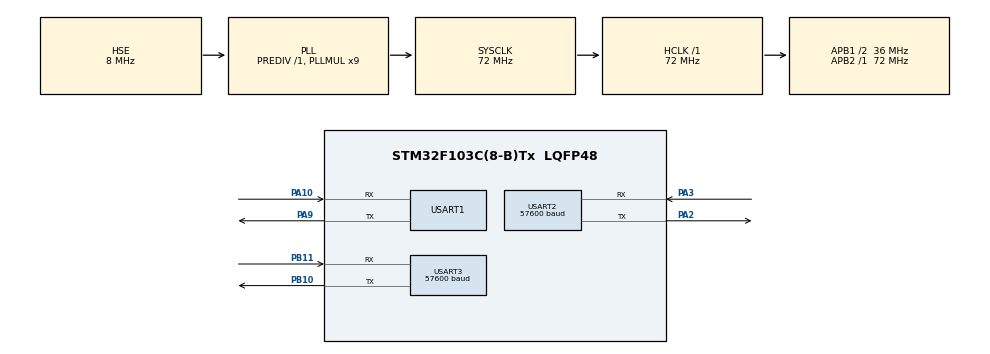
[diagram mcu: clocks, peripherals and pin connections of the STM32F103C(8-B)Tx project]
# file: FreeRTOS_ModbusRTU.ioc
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Dma.Request0=USART1_RX
Dma.Request1=USART1_TX
Dma.Request2=USART2_RX
Dma.Request3=USART2_TX
Dma.Request4=USART3_RX
Dma.Request5=USART3_TX
Dma.USART1_RX.0.Direction=DMA_PERIPH_TO_MEMORY
Dma.USART1_RX.0.Instance=DMA1_Channel5
Dma.USART1_RX.0.MemDataAlignment=DMA_MDATAALIGN_BYTE
Dma.USART1_RX.0.MemInc=DMA_MINC_ENABLE
Dma.USART1_RX.0.Mode=DMA_CIRCULAR
Dma.USART1_RX.0.PeriphDataAlignment=DMA_PDATAALIGN_BYTE
Dma.USART1_RX.0.PeriphInc=DMA_PINC_DISABLE
Dma.USART1_RX.0.Priority=DMA_PRIORITY_LOW
Dma.USART1_TX.1.Direction=DMA_MEMORY_TO_PERIPH
Dma.USART1_TX.1.Instance=DMA1_Channel4
Dma.USART1_TX.1.MemDataAlignment=DMA_MDATAALIGN_BYTE
Dma.USART1_TX.1.MemInc=DMA_MINC_ENABLE
Dma.USART1_TX.1.Mode=DMA_NORMAL
Dma.USART1_TX.1.PeriphDataAlignment=DMA_PDATAALIGN_BYTE
Dma.USART1_TX.1.PeriphInc=DMA_PINC_DISABLE
Dma.USART1_TX.1.Priority=DMA_PRIORITY_LOW
Dma.USART2_RX.2.Direction=DMA_PERIPH_TO_MEMORY
Dma.USART2_RX.2.Instance=DMA1_Channel6
Dma.USART2_RX.2.MemDataAlignment=DMA_MDATAALIGN_BYTE
Dma.USART2_RX.2.MemInc=DMA_MINC_ENABLE
Dma.USART2_RX.2.Mode=DMA_CIRCULAR
Dma.USART2_RX.2.PeriphDataAlignment=DMA_PDATAALIGN_BYTE
Dma.USART2_RX.2.PeriphInc=DMA_PINC_DISABLE
Dma.USART2_RX.2.Priority=DMA_PRIORITY_MEDIUM
Dma.USART2_TX.3.Direction=DMA_MEMORY_TO_PERIPH
Dma.USART2_TX.3.Instance=DMA1_Channel7
Dma.USART2_TX.3.MemDataAlignment=DMA_MDATAALIGN_BYTE
Dma.USART2_TX.3.MemInc=DMA_MINC_ENABLE
Dma.USART2_TX.3.Mode=DMA_NORMAL
Dma.USART2_TX.3.PeriphDataAlignment=DMA_PDATAALIGN_BYTE
Dma.USART2_TX.3.PeriphInc=DMA_PINC_DISABLE
Dma.USART2_TX.3.Priority=DMA_PRIORITY_MEDIUM
Dma.USART3_RX.4.Direction=DMA_PERIPH_TO_MEMORY
Dma.USART3_RX.4.Instance=DMA1_Channel3
Dma.USART3_RX.4.MemDataAlignment=DMA_MDATAALIGN_BYTE
Dma.USART3_RX.4.MemInc=DMA_MINC_ENABLE
Dma.USART3_RX.4.Mode=DMA_CIRCULAR
Dma.USART3_RX.4.PeriphDataAlignment=DMA_PDATAALIGN_BYTE
Dma.USART3_RX.4.PeriphInc=DMA_PINC_DISABLE
Dma.USART3_RX.4.Priority=DMA_PRIORITY_HIGH
Dma.USART3_TX.5.Direction=DMA_MEMORY_TO_PERIPH
Dma.USART3_TX.5.Instance=DMA1_Channel2
Dma.USART3_TX.5.MemDataAlignment=DMA_MDATAALIGN_BYTE
Dma.USART3_TX.5.MemInc=DMA_MINC_ENABLE
Dma.USART3_TX.5.Mode=DMA_NORMAL
Dma.USART3_TX.5.PeriphDataAlignment=DMA_PDATAALIGN_BYTE
Dma.USART3_TX.5.PeriphInc=DMA_PINC_DISABLE
Dma.USART3_TX.5.Priority=DMA_PRIORITY_HIGH
FREERTOS.BinarySemaphores01=frameSendSemaphore,Dynamic,NULL,Available
FREERTOS.Tasks01=RecvData_Task,24,128,Start_RecvData,Default,NULL,Dynamic,NULL,NULL;ProcData_Task,32,128,Start_Process_Data,Default,NULL,Dynamic,NULL,NULL;MoniMotor_Task,8,128,Start_MonitorMotor_Data,Default,NULL,Dynamic,NULL,NULL;Ctrl_Load_Task,48,128,Start_Control_Load,Default,NULL,Dynamic,NULL,NULL;Main_Ctrl_Task,24,128,Start_Main_Control,Default,NULL,Dynamic,NULL,NULL
FREERTOS.configTOTAL_HEAP_SIZE=8192
Mcu.Family=STM32F1
Mcu.Name=STM32F103C(8-B)Tx
Mcu.Package=LQFP48
NVIC.DMA1_Channel2_IRQn=true\:5\:0\:false\:false\:true\:true\:false\:true\:true
NVIC.DMA1_Channel3_IRQn=true\:5\:0\:false\:false\:true\:true\:false\:true\:true
NVIC.DMA1_Channel4_IRQn=true\:5\:0\:false\:false\:true\:true\:false\:true\:true
NVIC.DMA1_Channel5_IRQn=true\:5\:0\:false\:false\:true\:true\:false\:true\:true
NVIC.DMA1_Channel6_IRQn=true\:5\:0\:false\:false\:true\:true\:false\:true\:true
NVIC.DMA1_Channel7_IRQn=true\:5\:0\:false\:false\:true\:true\:false\:true\:true
NVIC.PriorityGroup=NVIC_PRIORITYGROUP_4
NVIC.TIM1_UP_IRQn=true\:15\:0\:false\:false\:true\:false\:false\:true\:true
NVIC.TIM2_IRQn=true\:5\:0\:false\:false\:true\:true\:true\:true\:true
NVIC.TIM3_IRQn=true\:5\:0\:false\:false\:true\:true\:true\:true\:true
NVIC.TimeBase=TIM1_UP_IRQn
NVIC.TimeBaseIP=TIM1
NVIC.USART1_IRQn=true\:5\:0\:false\:false\:true\:true\:true\:true\:true
NVIC.USART2_IRQn=true\:5\:0\:false\:false\:true\:true\:true\:true\:true
NVIC.USART3_IRQn=true\:5\:0\:false\:false\:true\:true\:true\:true\:true
PA10.Mode=Asynchronous
PA10.Signal=USART1_RX
PA13.Mode=Serial_Wire
PA13.Signal=SYS_JTMS-SWDIO
PA14.Mode=Serial_Wire
PA14.Signal=SYS_JTCK-SWCLK
PA2.Mode=Asynchronous
PA2.Signal=USART2_TX
PA3.Mode=Asynchronous
PA3.Signal=USART2_RX
PA9.Mode=Asynchronous
PA9.Signal=USART1_TX
PB10.Mode=Asynchronous
PB10.Signal=USART3_TX
PB11.Mode=Asynchronous
PB11.Signal=USART3_RX
PD0-OSC_IN.Mode=HSE-External-Oscillator
PD0-OSC_IN.Signal=RCC_OSC_IN
PD1-OSC_OUT.Mode=HSE-External-Oscillator
PD1-OSC_OUT.Signal=RCC_OSC_OUT
ProjectManager.HeapSize=0x200
ProjectManager.StackSize=0x400
ProjectManager.TargetToolchain=STM32CubeIDE
RCC.AHBFreq_Value=72000000
RCC.APB1CLKDivider=RCC_HCLK_DIV2
RCC.APB1Freq_Value=36000000
RCC.APB1TimFreq_Value=72000000
RCC.APB2Freq_Value=72000000
RCC.APB2TimFreq_Value=72000000
RCC.HCLKFreq_Value=72000000
RCC.PLLMUL=RCC_PLL_MUL9
RCC.PLLSourceVirtual=RCC_PLLSOURCE_HSE
RCC.SYSCLKFreq_VALUE=72000000
RCC.SYSCLKSource=RCC_SYSCLKSOURCE_PLLCLK
RCC.USBFreq_Value=72000000
TIM2.Period=499
TIM2.Prescaler=7199
TIM3.Period=3999
TIM3.Prescaler=7199
USART1.VirtualMode=VM_ASYNC
USART2.BaudRate=57600
USART2.Parity=PARITY_EVEN
USART2.VirtualMode=VM_ASYNC
USART2.WordLength=WORDLENGTH_9B
USART3.BaudRate=57600
USART3.VirtualMode=VM_ASYNC
VP_FREERTOS_VS_CMSIS_V2.Mode=CMSIS_V2
VP_SYS_VS_tim1.Mode=TIM1
VP_TIM2_VS_ClockSourceINT.Mode=Internal
VP_TIM3_VS_ClockSourceINT.Mode=Internal
board=custom

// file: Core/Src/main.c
/* USER CODE BEGIN Header */
/**
  ******************************************************************************
  * @file           : main.c
  * @brief          : Main program body
  ******************************************************************************
  * @attention
  *
  * Copyright (c) 2025 STMicroelectronics.
  * All rights reserved.
  *
  * This software is licensed under terms that can be found in the LICENSE file
  * in the root directory of this software component.
  * If no LICENSE file comes with this software, it is provided AS-IS.
  *
  ******************************************************************************
  */
/* USER CODE END Header */
#include "main.h"
#include "cmsis_os.h"
#include "dma.h"
#include "tim.h"
#include "usart.h"
#include "gpio.h"

/* USER CODE BEGIN Includes */
#include "FreeRTOS.h"
#include "timers.h"
#include "task.h"
/* USER CODE END Includes */

/* USER CODE BEGIN PV */
__attribute__((section(".ccmram"))) uint8_t uart1_rx_buf[UART1_RX_BUF_SIZE];
volatile uint8_t uart1_rx_len = 0;

__attribute__((section(".ccmram"))) uint8_t uart2_rx_buf[UART2_RX_BUF_SIZE];
volatile uint8_t uart2_rx_len = 0;

__attribute__((section(".ccmram"))) uint8_t uart3_rx_buf[UART3_RX_BUF_SIZE];
volatile uint8_t uart3_rx_len = 0;

uint8_t UART1_RX_INT_FLAG = 0;
uint8_t UART2_RX_INT_FLAG = 0;
uint8_t UART3_RX_INT_FLAG = 0;

uint8_t MONITORING_MOTOR_FLAG = 0;
uint8_t MONITORING_LOAD_FLAG = 0;

uint8_t monitoring_counter_50ms;		// TIM2 读电缸数据
uint8_t monitoring_counter_400ms;		// TIM3 读电机驱动器数据

/* USER CODE END PV */

void SystemClock_Config(void);
void MX_FREERTOS_Init(void);

/* USER CODE BEGIN 0 */
void HAL_UARTEx_RxEventCallback(UART_HandleTypeDef *huart, uint16_t Size)
{
	if (huart->Instance == USART1) {
		HAL_UART_DMAStop(&huart1);
		uart1_rx_len = huart->RxXferSize - huart->RxXferCount;
		UART1_RX_INT_FLAG = 1;
	}

	if (huart->Instance == USART2) {
		HAL_UART_DMAStop(&huart2);
		uart2_rx_len = huart->RxXferSize - huart->RxXferCount;
		UART2_RX_INT_FLAG = 1;
	}

	if (huart->Instance == USART3) {
		HAL_UART_DMAStop(&huart3);
		uart3_rx_len = huart->RxXferSize - huart->RxXferCount;
		UART3_RX_INT_FLAG = 1;
	}
}

/* USER CODE END 0 */

int main(void)
{

  /* MCU Configuration--------------------------------------------------------*/

  /* Reset of all peripherals, Initializes the Flash interface and the Systick. */
  HAL_Init();

  /* Configure the system clock */
  SystemClock_Config();

  /* Initialize all configured peripherals */
  MX_GPIO_Init();
  MX_DMA_Init();
  MX_TIM2_Init();
  MX_USART1_UART_Init();
  MX_USART2_UART_Init();
  MX_USART3_UART_Init();
  MX_TIM3_Init();
  /* USER CODE BEGIN 2 */
	HAL_TIM_Base_Start_IT(&htim2);
	HAL_TIM_Base_Start_IT(&htim3);

	HAL_UARTEx_ReceiveToIdle_DMA(&huart1, uart1_rx_buf, UART1_RX_BUF_SIZE);
	__HAL_DMA_DISABLE_IT(&hdma_usart1_rx, DMA_IT_HT);
	HAL_UARTEx_ReceiveToIdle_DMA(&huart2, uart2_rx_buf, UART2_RX_BUF_SIZE);
  	__HAL_DMA_DISABLE_IT(&hdma_usart2_rx, DMA_IT_HT);
	HAL_UARTEx_ReceiveToIdle_DMA(&huart3, uart3_rx_buf, UART3_RX_BUF_SIZE);
	__HAL_DMA_DISABLE_IT(&hdma_usart3_rx, DMA_IT_HT);

	ModbusRtuSlaveInit();		// 单片机作为从机的初始化
	MotorDriverInit();			// 单片机作为电机驱动器主机的初始化
	LoadInit();					// 单片机作为电缸主机的初始化

	LoadStatusInit();			// 电缸初始状态，目标电流/目标速度/目标位置

  /* USER CODE END 2 */

  /* Init scheduler */
  osKernelInitialize();

  /* Call init function for freertos objects (in cmsis_os2.c) */
  MX_FREERTOS_Init();

  /* Start scheduler */
  osKernelStart();

  /* We should never get here as control is now taken by the scheduler */

  /* Infinite loop */
  while (1)
  {

  }
}

void SystemClock_Config(void)
{
  RCC_OscInitTypeDef RCC_OscInitStruct = {0};
  RCC_ClkInitTypeDef RCC_ClkInitStruct = {0};

  /** Initializes the RCC Oscillators according to the specified parameters
  * in the RCC_OscInitTypeDef structure.
  */
  RCC_OscInitStruct.OscillatorType = RCC_OSCILLATORTYPE_HSE;
  RCC_OscInitStruct.HSEState = RCC_HSE_ON;
  RCC_OscInitStruct.HSEPredivValue = RCC_HSE_PREDIV_DIV1;
  RCC_OscInitStruct.HSIState = RCC_HSI_ON;
  RCC_OscInitStruct.PLL.PLLState = RCC_PLL_ON;
  RCC_OscInitStruct.PLL.PLLSource = RCC_PLLSOURCE_HSE;
  RCC_OscInitStruct.PLL.PLLMUL = RCC_PLL_MUL9;
  if (HAL_RCC_OscConfig(&RCC_OscInitStruct) != HAL_OK)
  {
    Error_Handler();
  }

  /** Initializes the CPU, AHB and APB buses clocks
  */
  RCC_ClkInitStruct.ClockType = RCC_CLOCKTYPE_HCLK|RCC_CLOCKTYPE_SYSCLK
                              |RCC_CLOCKTYPE_PCLK1|RCC_CLOCKTYPE_PCLK2;
  RCC_ClkInitStruct.SYSCLKSource = RCC_SYSCLKSOURCE_PLLCLK;
  RCC_ClkInitStruct.AHBCLKDivider = RCC_SYSCLK_DIV1;
  RCC_ClkInitStruct.APB1CLKDivider = RCC_HCLK_DIV2;
  RCC_ClkInitStruct.APB2CLKDivider = RCC_HCLK_DIV1;

  if (HAL_RCC_ClockConfig(&RCC_ClkInitStruct, FLASH_LATENCY_2) != HAL_OK)
  {
    Error_Handler();
  }
}

void HAL_TIM_PeriodElapsedCallback(TIM_HandleTypeDef *htim)
{
  /* USER CODE BEGIN Callback 0 */
	static uint8_t motor_idx;
	static uint8_t load_idx;

  /* USER CODE END Callback 0 */
  if (htim->Instance == TIM1) {
    HAL_IncTick();
  }
  /* USER CODE BEGIN Callback 1 */
  if (htim->Instance == TIM2) {
	  // 每50ms进一次中断
	  monitoring_counter_50ms++;
	  MONITORING_LOAD_FLAG = (load_idx++) % 4 + 1;
  }

  if (htim->Instance == TIM3) {
	  // 每400ms进一次中断
	  monitoring_counter_400ms++;
	  MONITORING_MOTOR_FLAG = (motor_idx++) % 4 + 1;
  }

  /* USER CODE END Callback 1 */
}

void Error_Handler(void)
{
  __disable_irq();
  while (1)
  {
  }
}

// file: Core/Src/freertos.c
/* USER CODE BEGIN Header */
/**
  ******************************************************************************
  * File Name          : freertos.c
  * Description        : Code for freertos applications
  ******************************************************************************
  * @attention
  *
  * Copyright (c) 2025 STMicroelectronics.
  * All rights reserved.
  *
  * This software is licensed under terms that can be found in the LICENSE file
  * in the root directory of this software component.
  * If no LICENSE file comes with this software, it is provided AS-IS.
  *
  ******************************************************************************
  */
/* USER CODE END Header */

#include "FreeRTOS.h"
#include "task.h"
#include "main.h"
#include "cmsis_os.h"

/* USER CODE BEGIN Variables */
extern ModbusRtuSlaveStruct slaveStr;
extern MotorDriverStruct	 motorDriverStr;
extern LoadStruct 		loadStr;

extern uint8_t REC_CTRL_MOTOR_FLAG;
extern uint8_t REC_CTRL_LOAD_FLAG;
extern uint8_t REC_CTRL_ARRAY_IDX;

const uint8_t send_to_motor[4][8] = {
		{0x01, 0x03, 0x71, 0x10, 0x00, 0x0A, 0xDF, 0x34},
		{0x02, 0x03, 0x71, 0x10, 0x00, 0x0A, 0xDF, 0x07},
		{0x03, 0x03, 0x71, 0x10, 0x00, 0x0A, 0xDE, 0xD6},
		{0x04, 0x03, 0x71, 0x10, 0x00, 0x0A, 0xDF, 0x61}
};
const uint8_t send_to_load[4][8] = {
		{0x01, 0x03, 0x00, 0x37, 0x00, 0x02, 0x75, 0xC5},
		{0x02, 0x03, 0x00, 0x37, 0x00, 0x02, 0x75, 0xF6},
		{0x03, 0x03, 0x00, 0x37, 0x00, 0x02, 0x74, 0x27},
		{0x04, 0x03, 0x00, 0x37, 0x00, 0x02, 0x75, 0x90}
};

/* USER CODE END Variables */
/* Definitions for RecvData_Task */
osThreadId_t RecvData_TaskHandle;
const osThreadAttr_t RecvData_Task_attributes = {
  .name = "RecvData_Task",
  .stack_size = 128 * 4,
  .priority = (osPriority_t) osPriorityNormal,
};
/* Definitions for ProcData_Task */
osThreadId_t ProcData_TaskHandle;
const osThreadAttr_t ProcData_Task_attributes = {
  .name = "ProcData_Task",
  .stack_size = 128 * 4,
  .priority = (osPriority_t) osPriorityAboveNormal,
};
/* Definitions for MoniMotor_Task */
osThreadId_t MoniMotor_TaskHandle;
const osThreadAttr_t MoniMotor_Task_attributes = {
  .name = "MoniMotor_Task",
  .stack_size = 128 * 4,
  .priority = (osPriority_t) osPriorityLow,
};
/* Definitions for Ctrl_Load_Task */
osThreadId_t Ctrl_Load_TaskHandle;
const osThreadAttr_t Ctrl_Load_Task_attributes = {
  .name = "Ctrl_Load_Task",
  .stack_size = 128 * 4,
  .priority = (osPriority_t) osPriorityRealtime,
};
/* Definitions for Main_Ctrl_Task */
osThreadId_t Main_Ctrl_TaskHandle;
const osThreadAttr_t Main_Ctrl_Task_attributes = {
  .name = "Main_Ctrl_Task",
  .stack_size = 128 * 4,
  .priority = (osPriority_t) osPriorityNormal,
};
/* Definitions for frameSendSemaphore */
osSemaphoreId_t frameSendSemaphoreHandle;
const osSemaphoreAttr_t frameSendSemaphore_attributes = {
  .name = "frameSendSemaphore"
};

void Start_RecvData(void *argument);
void Start_Process_Data(void *argument);
void Start_MonitorMotor_Data(void *argument);
void Start_Control_Load(void *argument);
void Start_Main_Control(void *argument);

void MX_FREERTOS_Init(void); /* (MISRA C 2004 rule 8.1) */

void MX_FREERTOS_Init(void) {

  /* Create the semaphores(s) */
  /* creation of frameSendSemaphore */
  frameSendSemaphoreHandle = osSemaphoreNew(1, 1, &frameSendSemaphore_attributes);

  /* Create the thread(s) */
  /* creation of RecvData_Task */
  RecvData_TaskHandle = osThreadNew(Start_RecvData, NULL, &RecvData_Task_attributes);

  /* creation of ProcData_Task */
  ProcData_TaskHandle = osThreadNew(Start_Process_Data, NULL, &ProcData_Task_attributes);

  /* creation of MoniMotor_Task */
  MoniMotor_TaskHandle = osThreadNew(Start_MonitorMotor_Data, NULL, &MoniMotor_Task_attributes);

  /* creation of Ctrl_Load_Task */
  Ctrl_Load_TaskHandle = osThreadNew(Start_Control_Load, NULL, &Ctrl_Load_Task_attributes);

  /* creation of Main_Ctrl_Task */
  Main_Ctrl_TaskHandle = osThreadNew(Start_Main_Control, NULL, &Main_Ctrl_Task_attributes);

}

void Start_RecvData(void *argument)
{
  /* USER CODE BEGIN Start_RecvData */
  /* Infinite loop */
  for(;;)
  {
	  // UART1
	  if (1 == UART1_RX_INT_FLAG) {
		  if (uart1_rx_len > 0 && uart1_rx_len <= UART1_RX_BUF_SIZE) {
			  memcpy(slaveStr.RecvBuff, uart1_rx_buf, uart1_rx_len);
			  slaveStr.recCnt = uart1_rx_len;
			  slaveStr.recFrameFlag = 1;
		  }
		  else {
			  uart1_rx_len = 0;
		  }
		  HAL_UARTEx_ReceiveToIdle_DMA(&huart1, uart1_rx_buf, UART1_RX_BUF_SIZE);
		  __HAL_DMA_DISABLE_IT(&hdma_usart1_rx, DMA_IT_HT);

		  UART1_RX_INT_FLAG = 0;
	  }

	  // UART2
	  if (1 == UART2_RX_INT_FLAG) {
		  if (uart2_rx_len > 0 && uart2_rx_len <= UART2_RX_BUF_SIZE) {
			  memcpy(motorDriverStr.RecvBuff, uart2_rx_buf, uart2_rx_len);
			  motorDriverStr.recCnt = uart2_rx_len;
			  motorDriverStr.recFrameFlag = 1;
		  }
		  else {
			  uart2_rx_len = 0;
		  }
		  HAL_UARTEx_ReceiveToIdle_DMA(&huart2, uart2_rx_buf, UART2_RX_BUF_SIZE);
		  __HAL_DMA_DISABLE_IT(&hdma_usart2_rx, DMA_IT_HT);

		  UART2_RX_INT_FLAG = 0;
	  }

	  // UART3
	  if (1 == UART3_RX_INT_FLAG) {
		  if (uart3_rx_len > 0 && uart3_rx_len <= UART3_RX_BUF_SIZE) {
			  memcpy(loadStr.RecvBuff, uart3_rx_buf, uart3_rx_len);
			  loadStr.recCnt = uart3_rx_len;
			  loadStr.recFrameFlag = 1;
		  }
		  else {
			  uart3_rx_len = 0;
		  }
		  HAL_UARTEx_ReceiveToIdle_DMA(&huart3, uart3_rx_buf, UART3_RX_BUF_SIZE);
		  __HAL_DMA_DISABLE_IT(&hdma_usart3_rx, DMA_IT_HT);

		  UART3_RX_INT_FLAG = 0;
	  }

    osDelay(20);
  }
  /* USER CODE END Start_RecvData */
}

void Start_Process_Data(void *argument)
{
  /* USER CODE BEGIN Start_Process_Data */
  /* Infinite loop */

  for(;;)
  {
	  if (slaveStr.recFrameFlag) {
		  ProcessData_RecvFromPLC();
	  }

	  if (motorDriverStr.recFrameFlag) {
		  ProcessData_RecvFromMotorDriver();
	  }

	  if (loadStr.recFrameFlag) {
		  ProcessData_RecvFromLoad();
	  }

    osDelay(20);
  }
  /* USER CODE END Start_Process_Data */
}

void Start_MonitorMotor_Data(void *argument)
{
  /* USER CODE BEGIN Start_MonitorMotor_Data */
  /* Infinite loop */
  for(;;)
  {
//	  osStatus_t status = osSemaphoreAcquire(frameSendSemaphoreHandle, osWaitForever);
	  switch (MONITORING_MOTOR_FLAG) {
	  	  case 1:
				if (osSemaphoreAcquire(frameSendSemaphoreHandle, osWaitForever) == osOK) {
					// 发送查询
					HAL_UART_Transmit_DMA(&huart2, send_to_motor[0], 8);
					osDelay(10);
					osSemaphoreRelease(frameSendSemaphoreHandle);
				}
				else {
						// 处理信号量获取失败的情况（如记录错误）
				}
				MONITORING_MOTOR_FLAG = 0;
	  		  break;

	  	  case 2:
				if (osSemaphoreAcquire(frameSendSemaphoreHandle, osWaitForever) == osOK) {
					// 发送查询
					HAL_UART_Transmit_DMA(&huart2, send_to_motor[1], 8);
					osDelay(10);
					osSemaphoreRelease(frameSendSemaphoreHandle);
				}
				else {
						// 处理信号量获取失败的情况（如记录错误）
				}
				MONITORING_MOTOR_FLAG = 0;
			  break;

	  	  case 3:
				if (osSemaphoreAcquire(frameSendSemaphoreHandle, osWaitForever) == osOK) {
					// 发送查询
					HAL_UART_Transmit_DMA(&huart2, send_to_motor[2], 8);
					osDelay(10);
					osSemaphoreRelease(frameSendSemaphoreHandle);
				}
				else {
						// 处理信号量获取失败的情况（如记录错误）
				}
				MONITORING_MOTOR_FLAG = 0;
			  break;

	  	  case 4:
				if (osSemaphoreAcquire(frameSendSemaphoreHandle, osWaitForever) == osOK) {
					// 发送查询
					HAL_UART_Transmit_DMA(&huart2, send_to_motor[3], 8);
					osDelay(10);
					osSemaphoreRelease(frameSendSemaphoreHandle);
				}
				else {
						// 处理信号量获取失败的情况（如记录错误）
				}
				MONITORING_MOTOR_FLAG = 0;
			  break;
	  }
    osDelay(20);
  }
  /* USER CODE END Start_MonitorMotor_Data */
}

void Start_Control_Load(void *argument)
{
  /* USER CODE BEGIN Start_Control_Load */
  /* Infinite loop */
  for(;;)
  {
	  switch (MONITORING_LOAD_FLAG) {
		  case 1:
				if (osSemaphoreAcquire(frameSendSemaphoreHandle, osWaitForever) == osOK) {
					HAL_UART_Transmit_DMA(&huart3, send_to_load[0], 8);
					osDelay(10);
					osSemaphoreRelease(frameSendSemaphoreHandle);
				}
				else {
						// 处理信号量获取失败的情况（如记录错误�?
				}

				if (1 == slaveStr.ReadRegsGroup[0]) {
					if (slaveStr.ReadRegsGroup[6] > 2600) {
						uint8_t send_data[8] = {0x01, 0x06, 0x00, 0x36, 0x00, 0x28,};
						UART_SendDataWithSemaphore(&huart3, send_data, 8, osWaitForever, 8);
					}
					if ((slaveStr.ReadRegsGroup[6] < 1950) && (slaveStr.ReadRegsGroup[6] != 0)) {
						uint8_t send_data[8] = {0x01, 0x06, 0x00, 0x36, 0x01, 0x5E,};
						UART_SendDataWithSemaphore(&huart3, send_data, 8, osWaitForever, 8);
						osDelay(30);
					}
				}

				MONITORING_LOAD_FLAG = 0;
			  break;

		  case 2:
				if (osSemaphoreAcquire(frameSendSemaphoreHandle, osWaitForever) == osOK) {
					HAL_UART_Transmit_DMA(&huart3, send_to_load[1], 8);
					osDelay(10);
					osSemaphoreRelease(frameSendSemaphoreHandle);
				}
				else {
						// 处理信号量获取失败的情况
				}

				if (1 == slaveStr.ReadRegsGroup[10]) {
					if (slaveStr.ReadRegsGroup[16] > 2600) {
						uint8_t send_data[8] = {0x02, 0x06, 0x00, 0x36, 0x00, 0x28,};
						UART_SendDataWithSemaphore(&huart3, send_data, 8, osWaitForever, 8);
					}
					if ((slaveStr.ReadRegsGroup[16] < 1950) && (slaveStr.ReadRegsGroup[6] != 0)) {
						uint8_t send_data[8] = {0x02, 0x06, 0x00, 0x36, 0x01, 0x5E,};
						UART_SendDataWithSemaphore(&huart3, send_data, 8, osWaitForever, 8);
						osDelay(30);
					}
				}

				MONITORING_LOAD_FLAG = 0;
			  break;

		  case 3:
				if (osSemaphoreAcquire(frameSendSemaphoreHandle, osWaitForever) == osOK) {
					HAL_UART_Transmit_DMA(&huart3, send_to_load[2], 8);
					osDelay(10);
					osSemaphoreRelease(frameSendSemaphoreHandle);
				}
				else {
						// 处理信号量获取失败的情况（如记录错误）
				}
				if (1 == slaveStr.ReadRegsGroup[20]) {
					if (slaveStr.ReadRegsGroup[26] > 2600) {
						uint8_t send_data[8] = {0x03, 0x06, 0x00, 0x36, 0x00, 0x28,};
						UART_SendDataWithSemaphore(&huart3, send_data, 8, osWaitForever, 8);
					}
					if ((slaveStr.ReadRegsGroup[26] < 1950) && (slaveStr.ReadRegsGroup[6] != 0)) {
						uint8_t send_data[8] = {0x03, 0x06, 0x00, 0x36, 0x01, 0x5E,};
						UART_SendDataWithSemaphore(&huart3, send_data, 8, osWaitForever, 8);
						osDelay(30);
					}
				}

				MONITORING_LOAD_FLAG = 0;
			  break;

		  case 4:
				if (osSemaphoreAcquire(frameSendSemaphoreHandle, osWaitForever) == osOK) {
					HAL_UART_Transmit_DMA(&huart3, send_to_load[3], 8);
					osDelay(10);
					osSemaphoreRelease(frameSendSemaphoreHandle);
				}
				else {
						// 处理信号量获取失败的情况（如记录错误�?
				}
				if (1 == slaveStr.ReadRegsGroup[30]) {
					if (slaveStr.ReadRegsGroup[36] > 2600) {
						uint8_t send_data[8] = {0x03, 0x06, 0x00, 0x36, 0x00, 0x28,};
						UART_SendDataWithSemaphore(&huart3, send_data, 8, osWaitForever, 8);
					}
					if ((slaveStr.ReadRegsGroup[36] < 1950) && (slaveStr.ReadRegsGroup[6] != 0)) {
						uint8_t send_data[8] = {0x03, 0x06, 0x00, 0x36, 0x01, 0x5E,};
						UART_SendDataWithSemaphore(&huart3, send_data, 8, osWaitForever, 8);
						osDelay(30);
					}
				}

				MONITORING_LOAD_FLAG = 0;
			  break;
	  }

	  osDelay(5);
  }
  /* USER CODE END Start_Control_Load */
}

void Start_Main_Control(void *argument)
{
  /* USER CODE BEGIN Start_Main_Control */
  /* Infinite loop */
  for(;;)
  {
	  if (REC_CTRL_MOTOR_FLAG) {
		  ProcessData_TransToMotorDriver();
		  REC_CTRL_MOTOR_FLAG = 0;
	  }

	  if (REC_CTRL_LOAD_FLAG) {
		  ProcessData_TransToLoad();
		  REC_CTRL_LOAD_FLAG = 0;
	  }

    osDelay(20);
  }
  /* USER CODE END Start_Main_Control */
}
